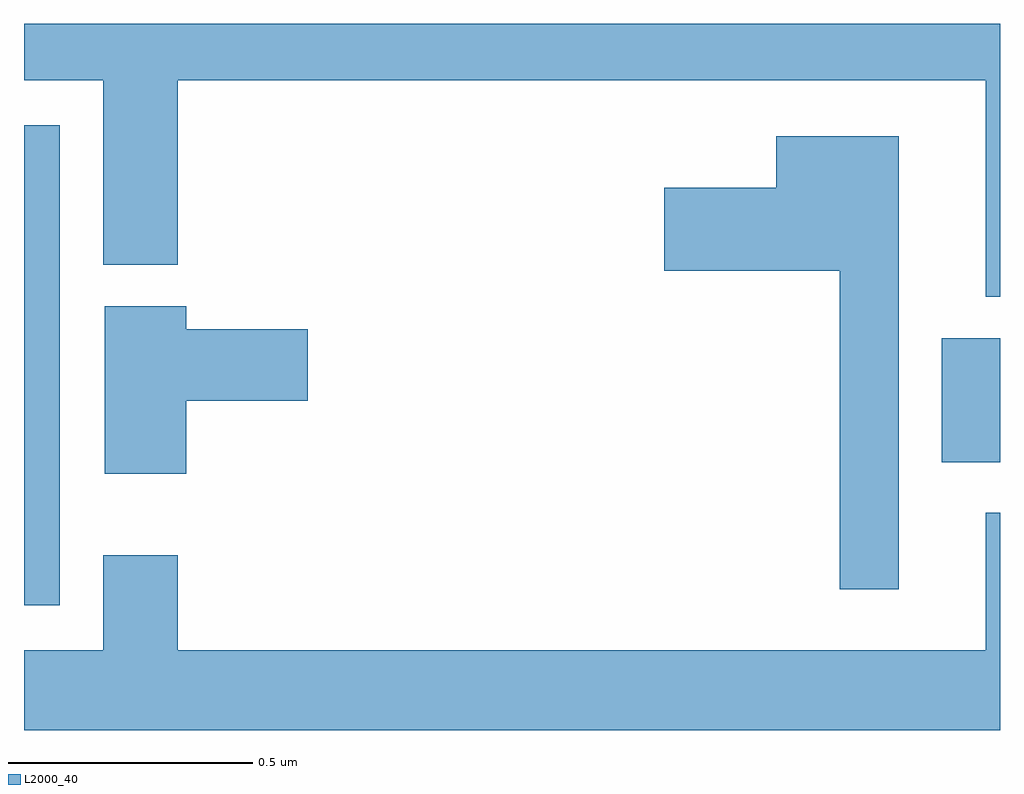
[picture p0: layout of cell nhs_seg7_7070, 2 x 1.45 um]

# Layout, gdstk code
import gdstk
lib = gdstk.Library(unit=1e-6, precision=1e-09)
def R(c, l, rs):  # rectangles x0, y0, x1, y1
    for r in rs: c.add(gdstk.rectangle(r[:2], r[2:], *l))
def P(c, l, *ps):  # polygons
    for p in ps: c.add(gdstk.Polygon(p, *l))
L2000_40 = (2000, 40)

nhs_seg7_7070 = lib.new_cell('nhs_seg7_7070')
R(nhs_seg7_7070, L2000_40, [(206,1064.808,206.073,1065.792), (207.881,1065.101,208,1065.355)])
P(nhs_seg7_7070, L2000_40, [(208,1066),(206,1066),(206,1065.884),(206.162,1065.884),(206.162,1065.506),(206.315,1065.506),(206.315,1065.884),(207.971,1065.884),(207.971,1065.44),(208,1065.44)],
  [(207.793,1065.769),(207.542,1065.769),(207.542,1065.664),(207.312,1065.664),(207.312,1065.494),(207.672,1065.494),(207.672,1064.841),(207.793,1064.841)],
  [(206.332,1065.227),(206.581,1065.227),(206.581,1065.374),(206.332,1065.374),(206.332,1065.421),(206.165,1065.421),(206.165,1065.078),(206.332,1065.078)],
  [(208,1064.998),(207.971,1064.998),(207.971,1064.716),(206.315,1064.716),(206.315,1064.911),(206.162,1064.911),(206.162,1064.716),(206,1064.716),(206,1064.552),(208,1064.552)])

lib.write_gds('nhs_seg7_7070.gds')
